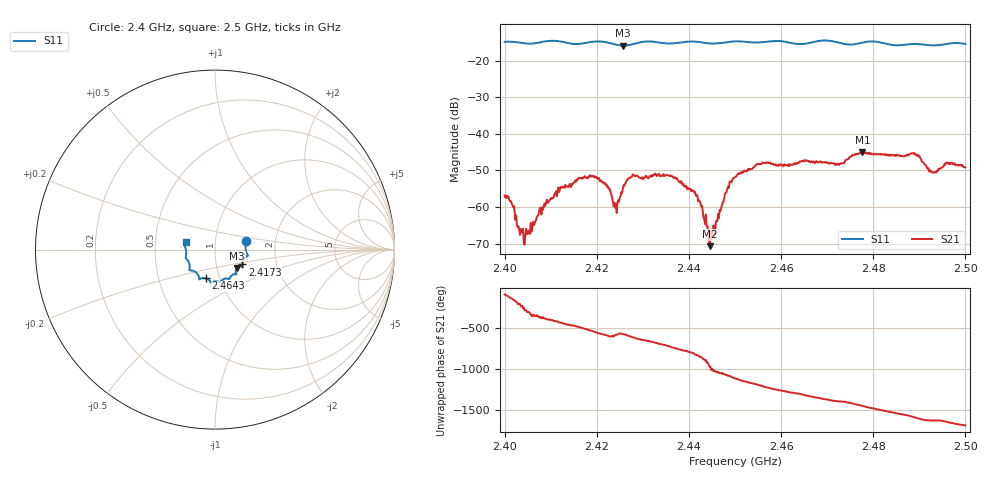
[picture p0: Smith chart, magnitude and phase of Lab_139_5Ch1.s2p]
# Hz S RI R 50
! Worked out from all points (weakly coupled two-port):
!   601 points, 2.4 GHz to 2.5 GHz, reference 50 ohm
!   highest |S21| = -44.97 dB at 2.4777 GHz (marker M1); lowest = -70.7 dB at 2.4445 GHz (marker M2)
!   lowest |S11| = -15.9 dB at 2.4257 GHz (marker M3), VSWR 1.38, Z = 62.4 - j13.1 ohm
!   |S11| at or under -10 dB: start of sweep to end of sweep
!   S12 and S22 are empty: the file has one direction only
!   S11 on the Smith chart (normalised r, x): 2.4 GHz: 1.41, +0.15; 2.4173 GHz: 1.34, -0.23; 2.4643 GHz: 0.86, -0.28; 2.5 GHz: 0.72, +0.06
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2.4e9  0.1733 0.05  4.05e-05 -0.00143  0 0  0 0
2.404667e9  0.1704 0.0175  9.07e-05 0.000494  0 0  0 0
2.409e9  0.1816 -0.0284  0.00103 -0.000466  0 0  0 0
2.416667e9  0.1531 -0.0749  -0.00178 -0.00176  0 0  0 0
2.417333e9  0.1525 -0.0824  -0.00223 -0.00137  0 0  0 0
2.421667e9  0.1528 -0.0948  -0.00166 0.00137  0 0  0 0
2.424e9  0.1363 -0.0942  -0.000704 0.000672  0 0  0 0
2.425667e9  0.1226 -0.1023  -0.00152 0.000955  0 0  0 0
2.4275e9  0.1155 -0.119  -0.00102 0.00234  0 0  0 0
2.433333e9  0.1129 -0.1366  0.00235 0.0015  0 0  0 0
2.441333e9  0.0772 -0.1644  -0.000345 -0.00156  0 0  0 0
2.4445e9  0.0592 -0.1611  -8.54e-05 0.000278  0 0  0 0
2.45e9  0.0297 -0.1808  0.00209 -0.00146  0 0  0 0
2.455667e9  -0.00406 -0.1778  -0.00211 -0.00323  0 0  0 0
2.464333e9  -0.05 -0.1603  -0.00273 0.00318  0 0  0 0
2.466667e9  -0.0761 -0.1599  -0.000857 0.00411  0 0  0 0
2.473e9  -0.0909 -0.1466  0.00292 0.00257  0 0  0 0
2.477667e9  -0.1329 -0.1161  0.00551 -0.0012  0 0  0 0
2.483333e9  -0.1408 -0.0894  0.000689 -0.00498  0 0  0 0
2.489167e9  -0.1625 -0.0453  -0.00484 -0.00227  0 0  0 0
2.493167e9  -0.1608 -0.0119  -0.00289 0.000615  0 0  0 0
2.5e9  -0.1635 0.0422  -0.00112 0.00329  0 0  0 0
